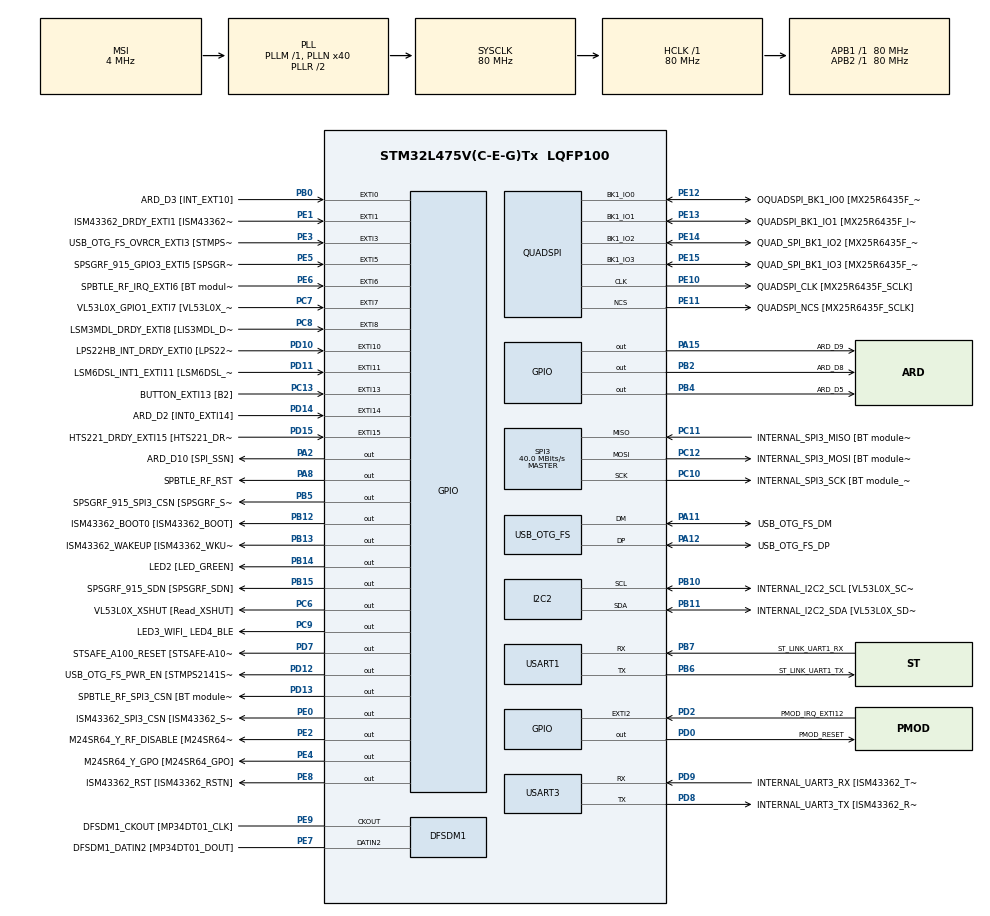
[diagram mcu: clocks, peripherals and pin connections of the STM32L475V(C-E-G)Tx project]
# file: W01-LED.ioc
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FREERTOS.Mutexes01=LED2,Static,LED2ControlBlock,Available
FREERTOS.Tasks01=defaultTask,24,128,StartDefaultTask,Default,NULL,Static,defaultTaskBuffer,defaultTaskControlBlock;fastBlink,8,128,StartFastBlink,Default,NULL,Static,fastBlinkBuffer,fastBlinkControlBlock;blink5,8,128,StartBlink5,Default,NULL,Static,blink5Buffer,blink5ControlBlock
I2C2.Timing=0x10D19CE4
Mcu.Family=STM32L4
Mcu.Name=STM32L475V(C-E-G)Tx
Mcu.Package=LQFP100
NVIC.EXTI15_10_IRQn=true\:5\:0\:false\:false\:true\:true\:true\:true\:true
NVIC.EXTI9_5_IRQn=true\:5\:0\:false\:false\:true\:true\:true\:true\:true
NVIC.PriorityGroup=NVIC_PRIORITYGROUP_4
NVIC.TIM6_DAC_IRQn=true\:15\:0\:false\:false\:true\:false\:false\:true\:true
NVIC.TimeBase=TIM6_DAC_IRQn
NVIC.TimeBaseIP=TIM6
PA0.GPIO_Label=ARD_D1 [UART4_TX]
PA0.Signal=UART4_TX
PA1.GPIO_Label=ARD_D0 [UART4_RX]
PA1.Signal=UART4_RX
PA10.GPIO_Label=USB_OTG_FS_ID
PA10.Signal=USB_OTG_FS_ID
PA11.GPIO_Label=USB_OTG_FS_DM
PA11.Mode=Device_Only
PA11.Signal=USB_OTG_FS_DM
PA12.GPIO_Label=USB_OTG_FS_DP
PA12.Mode=Device_Only
PA12.Signal=USB_OTG_FS_DP
PA13\ (JTMS-SWDIO).GPIO_Label=SYS_JTMS_SWDIO
PA13\ (JTMS-SWDIO).Mode=Serial_Wire
PA13\ (JTMS-SWDIO).Signal=SYS_JTMS-SWDIO
PA14\ (JTCK-SWCLK).GPIO_Label=SYS_JTCK_SWCLK
PA14\ (JTCK-SWCLK).Mode=Serial_Wire
PA14\ (JTCK-SWCLK).Signal=SYS_JTCK-SWCLK
PA15\ (JTDI).GPIO_Label=ARD_D9
PA15\ (JTDI).Signal=GPIO_Output
PA2.GPIO_Label=ARD_D10 [SPI_SSN]
PA2.Signal=GPIO_Output
PA3.GPIO_Label=ARD_D4
PA3.Signal=S_TIM2_CH4
PA4.GPIO_Label=ARD_D7
PA4.Signal=ADCx_IN9
PA5.GPIO_Label=ARD_D13 [SPI1_SCK]
PA5.Signal=SPI1_SCK
PA6.GPIO_Label=ARD_D12 [SPI1_MISO]
PA6.Signal=SPI1_MISO
PA7.GPIO_Label=ARD_D11 [SPI1_MOSI]
PA7.Signal=SPI1_MOSI
PA8.GPIO_Label=SPBTLE_RF_RST
PA8.Signal=GPIO_Output
PA9.GPIO_Label=USB_OTG_FS_VBUS [STMPS2141STR_OUT]
PA9.Signal=USB_OTG_FS_VBUS
PB0.GPIO_Label=ARD_D3 [INT_EXT10]
PB0.Signal=GPXTI0
PB1.GPIO_Label=ARD_D6 [ADC1_IN6]
PB1.Signal=ADCx_IN16
PB10.GPIO_Label=INTERNAL_I2C2_SCL [VL53L0X_SCL]
PB10.GPIO_Pu=GPIO_PULLUP
PB10.Mode=I2C
PB10.Signal=I2C2_SCL
PB11.GPIO_Label=INTERNAL_I2C2_SDA [VL53L0X_SDA]
PB11.GPIO_Pu=GPIO_PULLUP
PB11.Mode=I2C
PB11.Signal=I2C2_SDA
PB12.GPIO_Label=ISM43362_BOOT0 [ISM43362_BOOT]
PB12.Signal=GPIO_Output
PB13.GPIO_Label=ISM43362_WAKEUP [ISM43362_WKUP]
PB13.Signal=GPIO_Output
PB14.GPIO_Label=LED2 [LED_GREEN]
PB14.PinState=GPIO_PIN_RESET
PB14.Signal=GPIO_Output
PB15.GPIO_Label=SPSGRF_915_SDN [SPSGRF_SDN]
PB15.Signal=GPIO_Output
PB2.GPIO_Label=ARD_D8
PB2.Signal=GPIO_Output
PB3\ (JTDO-TRACESWO).GPIO_Label=SYS_JTD0_SWO
PB3\ (JTDO-TRACESWO).Signal=SYS_JTDO-SWO
PB4\ (NJTRST).GPIO_Label=ARD_D5
PB4\ (NJTRST).Signal=GPIO_Output
PB5.GPIO_Label=SPSGRF_915_SPI3_CSN [SPSGRF_SPI_CS]
PB5.PinState=GPIO_PIN_SET
PB5.Signal=GPIO_Output
PB6.GPIO_Label=ST_LINK_UART1_TX
PB6.Mode=Asynchronous
PB6.Signal=USART1_TX
PB7.GPIO_Label=ST_LINK_UART1_RX
PB7.Mode=Asynchronous
PB7.Signal=USART1_RX
PB8.GPIO_Label=ARD_D15 [I2C1_SCL]
PB8.Signal=I2C1_SCL
PB9.GPIO_Label=ARD_D14 [I2C1_SDA]
PB9.Signal=I2C1_SDA
PC0.GPIO_Label=ARD_A5 [ADC]
PC0.Signal=ADCx_IN1
PC1.GPIO_Label=ARD_A4 [ADC]
PC1.Signal=ADCx_IN2
PC10.GPIO_Label=INTERNAL_SPI3_SCK [BT module_SPI_SCLK] [ISM43362_SCK]
PC10.Mode=Full_Duplex_Master
PC10.Signal=SPI3_SCK
PC11.GPIO_Label=INTERNAL_SPI3_MISO [BT module_SPI_MISO] [ISM43362_MISO]
PC11.Mode=Full_Duplex_Master
PC11.Signal=SPI3_MISO
PC12.GPIO_Label=INTERNAL_SPI3_MOSI [BT module_SPI_MOSI] [ISM43362_MOSI]
PC12.Mode=Full_Duplex_Master
PC12.Signal=SPI3_MOSI
PC13.GPIO_Label=BUTTON_EXTI13 [B2]
PC13.GPIO_ModeDefaultEXTI=GPIO_MODE_IT_FALLING
PC13.GPIO_PuPd=GPIO_PULLUP
PC13.Signal=GPXTI13
PC14-OSC32_IN\ (PC14).Mode=LSE-External-Oscillator
PC14-OSC32_IN\ (PC14).Signal=RCC_OSC32_IN
PC15-OSC32_OUT\ (PC15).Mode=LSE-External-Oscillator
PC15-OSC32_OUT\ (PC15).Signal=RCC_OSC32_OUT
PC2.GPIO_Label=ARD_A3 [ADC]
PC2.Signal=ADCx_IN3
PC3.GPIO_Label=ARD_A2 [ADC]
PC3.Signal=ADCx_IN4
PC4.GPIO_Label=ARD_A1 [ADC]
PC4.Signal=ADCx_IN13
PC5.GPIO_Label=ARD_A0 [ADC]
PC5.Signal=ADCx_IN14
PC6.GPIO_Label=VL53L0X_XSHUT [Read_XSHUT]
PC6.Signal=GPIO_Output
PC7.GPIO_Label=VL53L0X_GPIO1_EXTI7 [VL53L0X_GPIO1]
PC7.Signal=GPXTI7
PC8.GPIO_Label=LSM3MDL_DRDY_EXTI8 [LIS3MDL_DRDY]
PC8.Signal=GPXTI8
PC9.GPIO_Label=LED3_WIFI_ LED4_BLE
PC9.Signal=GPIO_Output
PD0.GPIO_Label=PMOD_RESET
PD0.Signal=GPIO_Output
PD1.GPIO_Label=PMOD_SPI2_SCK
PD1.Signal=SPI2_SCK
PD10.GPIO_Label=LPS22HB_INT_DRDY_EXTI0 [LPS22HB_INT_DRDY] 
PD10.Signal=GPXTI10
PD11.GPIO_Label=LSM6DSL_INT1_EXTI11 [LSM6DSL_INT1]
PD11.Signal=GPXTI11
PD12.GPIO_Label=USB_OTG_FS_PWR_EN [STMPS2141STR_EN]
PD12.Signal=GPIO_Output
PD13.GPIO_Label=SPBTLE_RF_SPI3_CSN [BT module_SPI_CS]
PD13.PinState=GPIO_PIN_SET
PD13.Signal=GPIO_Output
PD14.GPIO_Label=ARD_D2 [INT0_EXTI14]
PD14.Signal=GPXTI14
PD15.GPIO_Label=HTS221_DRDY_EXTI15 [HTS221_DRDY]
PD15.Signal=GPXTI15
PD2.GPIO_Label=PMOD_IRQ_EXTI12
PD2.Signal=GPXTI2
PD3.GPIO_Label=PMOD_UART2_CTS
PD3.Signal=USART2_CTS
PD4.GPIO_Label=PMOD_UART2_RTS
PD4.Signal=USART2_RTS
PD5.GPIO_Label=PMOD_UART2_TX
PD5.Signal=USART2_TX
PD6.GPIO_Label=PMOD_UART2_RX
PD6.Signal=USART2_RX
PD7.GPIO_Label=STSAFE_A100_RESET [STSAFE-A100_RESET]
PD7.Signal=GPIO_Output
PD8.GPIO_Label=INTERNAL_UART3_TX [ISM43362_RX]
PD8.Mode=Asynchronous
PD8.Signal=USART3_TX
PD9.GPIO_Label=INTERNAL_UART3_RX [ISM43362_TX]
PD9.Mode=Asynchronous
PD9.Signal=USART3_RX
PE0.GPIO_Label=ISM43362_SPI3_CSN [ISM43362_SSN]
PE0.PinState=GPIO_PIN_SET
PE0.Signal=GPIO_Output
PE1.GPIO_Label=ISM43362_DRDY_EXTI1 [ISM43362_DATARDY]
PE1.Signal=GPXTI1
PE10.GPIO_Label=QUADSPI_CLK [MX25R6435F_SCLK]
PE10.Mode=Single Bank
PE10.Signal=QUADSPI_CLK
PE11.GPIO_Label=QUADSPI_NCS [MX25R6435F_SCLK]
PE11.Mode=Single Bank
PE11.Signal=QUADSPI_NCS
PE12.GPIO_Label=OQUADSPI_BK1_IO0 [MX25R6435F_IO0]
PE12.Mode=Single Bank
PE12.Signal=QUADSPI_BK1_IO0
PE13.GPIO_Label=QUADSPI_BK1_IO1 [MX25R6435F_IO1]
PE13.Mode=Single Bank
PE13.Signal=QUADSPI_BK1_IO1
PE14.GPIO_Label=QUAD_SPI_BK1_IO2 [MX25R6435F_IO2]
PE14.Mode=Single Bank
PE14.Signal=QUADSPI_BK1_IO2
PE15.GPIO_Label=QUAD_SPI_BK1_IO3 [MX25R6435F_IO3]
PE15.Mode=Single Bank
PE15.Signal=QUADSPI_BK1_IO3
PE2.GPIO_Label=M24SR64_Y_RF_DISABLE [M24SR64_RFDIS]
PE2.Signal=GPIO_Output
PE3.GPIO_Label=USB_OTG_FS_OVRCR_EXTI3 [STMPS2141STR_FAULT]
PE3.Signal=GPXTI3
PE4.GPIO_Label=M24SR64_Y_GPO [M24SR64_GPO]
PE4.Signal=GPIO_Output
PE5.GPIO_Label=SPSGRF_915_GPIO3_EXTI5 [SPSGRF_GPIO_3]
PE5.Signal=GPXTI5
PE6.GPIO_Label=SPBTLE_RF_IRQ_EXTI6 [BT module_SPI_IRQ]
PE6.Signal=GPXTI6
PE7.GPIO_Label=DFSDM1_DATIN2 [MP34DT01_DOUT]
PE7.Signal=S_DATAIN2DFSDM1
PE8.GPIO_Label=ISM43362_RST [ISM43362_RSTN]
PE8.Signal=GPIO_Output
PE9.GPIO_Label=DFSDM1_CKOUT [MP34DT01_CLK]
PE9.Signal=S_CKOUTDFSDM1
ProjectManager.HeapSize=0x200
ProjectManager.StackSize=0x400
ProjectManager.TargetToolchain=CMake
QUADSPI.ClockPrescaler=2
QUADSPI.FifoThreshold=4
QUADSPI.FlashSize=23
QUADSPI.SampleShifting=QSPI_SAMPLE_SHIFTING_HALFCYCLE
RCC.ADCFreq_Value=48000000
RCC.AHBFreq_Value=80000000
RCC.APB1Freq_Value=80000000
RCC.APB1TimFreq_Value=80000000
RCC.APB2Freq_Value=80000000
RCC.APB2TimFreq_Value=80000000
RCC.CortexFreq_Value=80000000
RCC.HCLKFreq_Value=80000000
RCC.HSE_VALUE=8000000
RCC.HSI_VALUE=16000000
RCC.MSI_VALUE=4000000
RCC.PLLN=40
RCC.PLLSAI1N=24
RCC.SYSCLKFreq_VALUE=80000000
RCC.SYSCLKSource=RCC_SYSCLKSOURCE_PLLCLK
RCC.USBFreq_Value=48000000
RCC.VCOOutputFreq_Value=160000000
SH.ADCx_IN1.0=ADC1_IN1
SH.ADCx_IN13.0=ADC1_IN13
SH.ADCx_IN14.0=ADC1_IN14
SH.ADCx_IN16.0=ADC1_IN16
SH.ADCx_IN2.0=ADC1_IN2
SH.ADCx_IN3.0=ADC1_IN3
SH.ADCx_IN4.0=ADC1_IN4
SH.ADCx_IN9.0=ADC1_IN9
SH.S_CKOUTDFSDM1.0=DFSDM1_CKOUT,CKOUT
SH.S_CKOUTDFSDM1.1=DFSDM1_CKOUT,PDM_SPI_Input_from_ch12_and_Internal_Clock
SH.S_DATAIN2DFSDM1.0=DFSDM1_DATIN2,PDM_SPI_Input_from_ch12_and_Internal_Clock
SH.S_TIM2_CH4.0=TIM2_CH4
SPI3.CalculateBaudRate=40.0 MBits/s
SPI3.Direction=SPI_DIRECTION_2LINES
SPI3.Mode=SPI_MODE_MASTER
SPI3.VirtualType=VM_MASTER
USART1.VirtualMode-Asynchronous=VM_ASYNC
USART3.VirtualMode-Asynchronous=VM_ASYNC
USB_OTG_FS.VirtualMode=Device_Only
VP_FREERTOS_VS_CMSIS_V2.Mode=CMSIS_V2
VP_SYS_VS_tim6.Mode=TIM6
board=B-L475E-IOT01A2

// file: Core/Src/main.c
/* USER CODE BEGIN Header */
/**
  ******************************************************************************
  * @file           : main.c
  * @brief          : Main program body
  ******************************************************************************
  * @attention
  *
  * Copyright (c) 2025 STMicroelectronics.
  * All rights reserved.
  *
  * This software is licensed under terms that can be found in the LICENSE file
  * in the root directory of this software component.
  * If no LICENSE file comes with this software, it is provided AS-IS.
  *
  ******************************************************************************
  */
/* USER CODE END Header */
#include "main.h"
#include "cmsis_os.h"

/* USER CODE BEGIN Includes */
#include <string.h>
/* USER CODE END Includes */

typedef StaticTask_t osStaticThreadDef_t;
typedef StaticSemaphore_t osStaticMutexDef_t;

DFSDM_Channel_HandleTypeDef hdfsdm1_channel1;

I2C_HandleTypeDef hi2c2;

QSPI_HandleTypeDef hqspi;

SPI_HandleTypeDef hspi3;

UART_HandleTypeDef huart1;
UART_HandleTypeDef huart3;

PCD_HandleTypeDef hpcd_USB_OTG_FS;

/* Definitions for defaultTask */
osThreadId_t defaultTaskHandle;
uint32_t defaultTaskBuffer[ 128 ];
osStaticThreadDef_t defaultTaskControlBlock;
const osThreadAttr_t defaultTask_attributes = {
  .name = "defaultTask",
  .cb_mem = &defaultTaskControlBlock,
  .cb_size = sizeof(defaultTaskControlBlock),
  .stack_mem = &defaultTaskBuffer[0],
  .stack_size = sizeof(defaultTaskBuffer),
  .priority = (osPriority_t) osPriorityNormal,
};
/* Definitions for fastBlink */
osThreadId_t fastBlinkHandle;
uint32_t fastBlinkBuffer[ 128 ];
osStaticThreadDef_t fastBlinkControlBlock;
const osThreadAttr_t fastBlink_attributes = {
  .name = "fastBlink",
  .cb_mem = &fastBlinkControlBlock,
  .cb_size = sizeof(fastBlinkControlBlock),
  .stack_mem = &fastBlinkBuffer[0],
  .stack_size = sizeof(fastBlinkBuffer),
  .priority = (osPriority_t) osPriorityLow,
};
/* Definitions for blink5 */
osThreadId_t blink5Handle;
uint32_t blink5Buffer[ 128 ];
osStaticThreadDef_t blink5ControlBlock;
const osThreadAttr_t blink5_attributes = {
  .name = "blink5",
  .cb_mem = &blink5ControlBlock,
  .cb_size = sizeof(blink5ControlBlock),
  .stack_mem = &blink5Buffer[0],
  .stack_size = sizeof(blink5Buffer),
  .priority = (osPriority_t) osPriorityLow,
};
/* Definitions for LED2 */
osMutexId_t LED2Handle;
osStaticMutexDef_t LED2ControlBlock;
const osMutexAttr_t LED2_attributes = {
  .name = "LED2",
  .cb_mem = &LED2ControlBlock,
  .cb_size = sizeof(LED2ControlBlock),
};

void SystemClock_Config(void);
static void MX_GPIO_Init(void);
static void MX_DFSDM1_Init(void);
static void MX_I2C2_Init(void);
static void MX_QUADSPI_Init(void);
static void MX_SPI3_Init(void);
static void MX_USART1_UART_Init(void);
static void MX_USART3_UART_Init(void);
static void MX_USB_OTG_FS_PCD_Init(void);
void StartDefaultTask(void *argument);
void StartFastBlink(void *argument);
void StartBlink5(void *argument);

/* USER CODE BEGIN 0 */
int status_code = 1;
char msg[128] = "init message";
/* USER CODE END 0 */

int main(void)
{

  /* USER CODE BEGIN 1 */
  strcpy(msg, "main start");
  /* USER CODE END 1 */

  /* MCU Configuration--------------------------------------------------------*/

  /* Reset of all peripherals, Initializes the Flash interface and the Systick. */
  HAL_Init();

  /* USER CODE BEGIN Init */
  strcpy(msg, "after HAL_Init");
  /* USER CODE END Init */

  /* Configure the system clock */
  SystemClock_Config();

  /* Initialize all configured peripherals */
  MX_GPIO_Init();
  MX_DFSDM1_Init();
  MX_I2C2_Init();
  MX_QUADSPI_Init();
  MX_SPI3_Init();
  MX_USART1_UART_Init();
  MX_USART3_UART_Init();
  MX_USB_OTG_FS_PCD_Init();

  /* Init scheduler */
  osKernelInitialize();
  /* Create the mutex(es) */
  /* creation of LED2 */
  LED2Handle = osMutexNew(&LED2_attributes);

  /* Create the thread(s) */
  /* creation of defaultTask */
  defaultTaskHandle = osThreadNew(StartDefaultTask, NULL, &defaultTask_attributes);

  /* creation of fastBlink */
  fastBlinkHandle = osThreadNew(StartFastBlink, NULL, &fastBlink_attributes);

  /* creation of blink5 */
  blink5Handle = osThreadNew(StartBlink5, NULL, &blink5_attributes);

  /* USER CODE BEGIN RTOS_THREADS */
  osThreadSuspend(fastBlinkHandle);
  osThreadSuspend(blink5Handle);
  /* add threads, ... */
  /* USER CODE END RTOS_THREADS */

  /* Start scheduler */
  osKernelStart();

  /* We should never get here as control is now taken by the scheduler */

  /* Infinite loop */
  /* USER CODE BEGIN WHILE */
  while (1)
  {
    break;
    /* USER CODE END WHILE */

  }
}

void SystemClock_Config(void)
{
  RCC_OscInitTypeDef RCC_OscInitStruct = {0};
  RCC_ClkInitTypeDef RCC_ClkInitStruct = {0};

  /** Configure the main internal regulator output voltage
  */
  if (HAL_PWREx_ControlVoltageScaling(PWR_REGULATOR_VOLTAGE_SCALE1) != HAL_OK)
  {
    Error_Handler();
  }

  /** Configure LSE Drive Capability
  */
  HAL_PWR_EnableBkUpAccess();
  __HAL_RCC_LSEDRIVE_CONFIG(RCC_LSEDRIVE_LOW);

  /** Initializes the RCC Oscillators according to the specified parameters
  * in the RCC_OscInitTypeDef structure.
  */
  RCC_OscInitStruct.OscillatorType = RCC_OSCILLATORTYPE_LSE|RCC_OSCILLATORTYPE_MSI;
  RCC_OscInitStruct.LSEState = RCC_LSE_ON;
  RCC_OscInitStruct.MSIState = RCC_MSI_ON;
  RCC_OscInitStruct.MSICalibrationValue = 0;
  RCC_OscInitStruct.MSIClockRange = RCC_MSIRANGE_6;
  RCC_OscInitStruct.PLL.PLLState = RCC_PLL_ON;
  RCC_OscInitStruct.PLL.PLLSource = RCC_PLLSOURCE_MSI;
  RCC_OscInitStruct.PLL.PLLM = 1;
  RCC_OscInitStruct.PLL.PLLN = 40;
  RCC_OscInitStruct.PLL.PLLP = RCC_PLLP_DIV7;
  RCC_OscInitStruct.PLL.PLLQ = RCC_PLLQ_DIV2;
  RCC_OscInitStruct.PLL.PLLR = RCC_PLLR_DIV2;
  if (HAL_RCC_OscConfig(&RCC_OscInitStruct) != HAL_OK)
  {
    Error_Handler();
  }

  /** Initializes the CPU, AHB and APB buses clocks
  */
  RCC_ClkInitStruct.ClockType = RCC_CLOCKTYPE_HCLK|RCC_CLOCKTYPE_SYSCLK
                              |RCC_CLOCKTYPE_PCLK1|RCC_CLOCKTYPE_PCLK2;
  RCC_ClkInitStruct.SYSCLKSource = RCC_SYSCLKSOURCE_PLLCLK;
  RCC_ClkInitStruct.AHBCLKDivider = RCC_SYSCLK_DIV1;
  RCC_ClkInitStruct.APB1CLKDivider = RCC_HCLK_DIV1;
  RCC_ClkInitStruct.APB2CLKDivider = RCC_HCLK_DIV1;

  if (HAL_RCC_ClockConfig(&RCC_ClkInitStruct, FLASH_LATENCY_4) != HAL_OK)
  {
    Error_Handler();
  }

  /** Enable MSI Auto calibration
  */
  HAL_RCCEx_EnableMSIPLLMode();
}

static void MX_DFSDM1_Init(void)
{

  hdfsdm1_channel1.Instance = DFSDM1_Channel1;
  hdfsdm1_channel1.Init.OutputClock.Activation = ENABLE;
  hdfsdm1_channel1.Init.OutputClock.Selection = DFSDM_CHANNEL_OUTPUT_CLOCK_SYSTEM;
  hdfsdm1_channel1.Init.OutputClock.Divider = 2;
  hdfsdm1_channel1.Init.Input.Multiplexer = DFSDM_CHANNEL_EXTERNAL_INPUTS;
  hdfsdm1_channel1.Init.Input.DataPacking = DFSDM_CHANNEL_STANDARD_MODE;
  hdfsdm1_channel1.Init.Input.Pins = DFSDM_CHANNEL_FOLLOWING_CHANNEL_PINS;
  hdfsdm1_channel1.Init.SerialInterface.Type = DFSDM_CHANNEL_SPI_RISING;
  hdfsdm1_channel1.Init.SerialInterface.SpiClock = DFSDM_CHANNEL_SPI_CLOCK_INTERNAL;
  hdfsdm1_channel1.Init.Awd.FilterOrder = DFSDM_CHANNEL_FASTSINC_ORDER;
  hdfsdm1_channel1.Init.Awd.Oversampling = 1;
  hdfsdm1_channel1.Init.Offset = 0;
  hdfsdm1_channel1.Init.RightBitShift = 0x00;
  if (HAL_DFSDM_ChannelInit(&hdfsdm1_channel1) != HAL_OK)
  {
    Error_Handler();
  }

}

static void MX_I2C2_Init(void)
{

  hi2c2.Instance = I2C2;
  hi2c2.Init.Timing = 0x10D19CE4;
  hi2c2.Init.OwnAddress1 = 0;
  hi2c2.Init.AddressingMode = I2C_ADDRESSINGMODE_7BIT;
  hi2c2.Init.DualAddressMode = I2C_DUALADDRESS_DISABLE;
  hi2c2.Init.OwnAddress2 = 0;
  hi2c2.Init.OwnAddress2Masks = I2C_OA2_NOMASK;
  hi2c2.Init.GeneralCallMode = I2C_GENERALCALL_DISABLE;
  hi2c2.Init.NoStretchMode = I2C_NOSTRETCH_DISABLE;
  if (HAL_I2C_Init(&hi2c2) != HAL_OK)
  {
    Error_Handler();
  }

  /** Configure Analogue filter
  */
  if (HAL_I2CEx_ConfigAnalogFilter(&hi2c2, I2C_ANALOGFILTER_ENABLE) != HAL_OK)
  {
    Error_Handler();
  }

  /** Configure Digital filter
  */
  if (HAL_I2CEx_ConfigDigitalFilter(&hi2c2, 0) != HAL_OK)
  {
    Error_Handler();
  }

}

static void MX_QUADSPI_Init(void)
{

  /* QUADSPI parameter configuration*/
  hqspi.Instance = QUADSPI;
  hqspi.Init.ClockPrescaler = 2;
  hqspi.Init.FifoThreshold = 4;
  hqspi.Init.SampleShifting = QSPI_SAMPLE_SHIFTING_HALFCYCLE;
  hqspi.Init.FlashSize = 23;
  hqspi.Init.ChipSelectHighTime = QSPI_CS_HIGH_TIME_1_CYCLE;
  hqspi.Init.ClockMode = QSPI_CLOCK_MODE_0;
  if (HAL_QSPI_Init(&hqspi) != HAL_OK)
  {
    Error_Handler();
  }

}

static void MX_SPI3_Init(void)
{

  /* SPI3 parameter configuration*/
  hspi3.Instance = SPI3;
  hspi3.Init.Mode = SPI_MODE_MASTER;
  hspi3.Init.Direction = SPI_DIRECTION_2LINES;
  hspi3.Init.DataSize = SPI_DATASIZE_4BIT;
  hspi3.Init.CLKPolarity = SPI_POLARITY_LOW;
  hspi3.Init.CLKPhase = SPI_PHASE_1EDGE;
  hspi3.Init.NSS = SPI_NSS_SOFT;
  hspi3.Init.BaudRatePrescaler = SPI_BAUDRATEPRESCALER_2;
  hspi3.Init.FirstBit = SPI_FIRSTBIT_MSB;
  hspi3.Init.TIMode = SPI_TIMODE_DISABLE;
  hspi3.Init.CRCCalculation = SPI_CRCCALCULATION_DISABLE;
  hspi3.Init.CRCPolynomial = 7;
  hspi3.Init.CRCLength = SPI_CRC_LENGTH_DATASIZE;
  hspi3.Init.NSSPMode = SPI_NSS_PULSE_ENABLE;
  if (HAL_SPI_Init(&hspi3) != HAL_OK)
  {
    Error_Handler();
  }

}

static void MX_USART1_UART_Init(void)
{

  huart1.Instance = USART1;
  huart1.Init.BaudRate = 115200;
  huart1.Init.WordLength = UART_WORDLENGTH_8B;
  huart1.Init.StopBits = UART_STOPBITS_1;
  huart1.Init.Parity = UART_PARITY_NONE;
  huart1.Init.Mode = UART_MODE_TX_RX;
  huart1.Init.HwFlowCtl = UART_HWCONTROL_NONE;
  huart1.Init.OverSampling = UART_OVERSAMPLING_16;
  huart1.Init.OneBitSampling = UART_ONE_BIT_SAMPLE_DISABLE;
  huart1.AdvancedInit.AdvFeatureInit = UART_ADVFEATURE_NO_INIT;
  if (HAL_UART_Init(&huart1) != HAL_OK)
  {
    Error_Handler();
  }

}

static void MX_USART3_UART_Init(void)
{

  huart3.Instance = USART3;
  huart3.Init.BaudRate = 115200;
  huart3.Init.WordLength = UART_WORDLENGTH_8B;
  huart3.Init.StopBits = UART_STOPBITS_1;
  huart3.Init.Parity = UART_PARITY_NONE;
  huart3.Init.Mode = UART_MODE_TX_RX;
  huart3.Init.HwFlowCtl = UART_HWCONTROL_NONE;
  huart3.Init.OverSampling = UART_OVERSAMPLING_16;
  huart3.Init.OneBitSampling = UART_ONE_BIT_SAMPLE_DISABLE;
  huart3.AdvancedInit.AdvFeatureInit = UART_ADVFEATURE_NO_INIT;
  if (HAL_UART_Init(&huart3) != HAL_OK)
  {
    Error_Handler();
  }

}

static void MX_USB_OTG_FS_PCD_Init(void)
{

  hpcd_USB_OTG_FS.Instance = USB_OTG_FS;
  hpcd_USB_OTG_FS.Init.dev_endpoints = 6;
  hpcd_USB_OTG_FS.Init.speed = PCD_SPEED_FULL;
  hpcd_USB_OTG_FS.Init.phy_itface = PCD_PHY_EMBEDDED;
  hpcd_USB_OTG_FS.Init.Sof_enable = DISABLE;
  hpcd_USB_OTG_FS.Init.low_power_enable = DISABLE;
  hpcd_USB_OTG_FS.Init.lpm_enable = DISABLE;
  hpcd_USB_OTG_FS.Init.battery_charging_enable = DISABLE;
  hpcd_USB_OTG_FS.Init.use_dedicated_ep1 = DISABLE;
  hpcd_USB_OTG_FS.Init.vbus_sensing_enable = DISABLE;
  if (HAL_PCD_Init(&hpcd_USB_OTG_FS) != HAL_OK)
  {
    Error_Handler();
  }

}

static void MX_GPIO_Init(void)
{
  GPIO_InitTypeDef GPIO_InitStruct = {0};

  /* GPIO Ports Clock Enable */
  __HAL_RCC_GPIOE_CLK_ENABLE();
  __HAL_RCC_GPIOC_CLK_ENABLE();
  __HAL_RCC_GPIOA_CLK_ENABLE();
  __HAL_RCC_GPIOB_CLK_ENABLE();
  __HAL_RCC_GPIOD_CLK_ENABLE();

  /*Configure GPIO pin Output Level */
  HAL_GPIO_WritePin(GPIOE, M24SR64_Y_RF_DISABLE_Pin|M24SR64_Y_GPO_Pin|ISM43362_RST_Pin, GPIO_PIN_RESET);

  /*Configure GPIO pin Output Level */
  HAL_GPIO_WritePin(GPIOA, ARD_D10_Pin|SPBTLE_RF_RST_Pin|ARD_D9_Pin, GPIO_PIN_RESET);

  /*Configure GPIO pin Output Level */
  HAL_GPIO_WritePin(GPIOB, ARD_D8_Pin|ISM43362_BOOT0_Pin|ISM43362_WAKEUP_Pin|LED2_Pin
                          |SPSGRF_915_SDN_Pin|ARD_D5_Pin, GPIO_PIN_RESET);

  /*Configure GPIO pin Output Level */
  HAL_GPIO_WritePin(GPIOD, USB_OTG_FS_PWR_EN_Pin|PMOD_RESET_Pin|STSAFE_A100_RESET_Pin, GPIO_PIN_RESET);

  /*Configure GPIO pin Output Level */
  HAL_GPIO_WritePin(SPBTLE_RF_SPI3_CSN_GPIO_Port, SPBTLE_RF_SPI3_CSN_Pin, GPIO_PIN_SET);

  /*Configure GPIO pin Output Level */
  HAL_GPIO_WritePin(GPIOC, VL53L0X_XSHUT_Pin|LED3_WIFI__LED4_BLE_Pin, GPIO_PIN_RESET);

  /*Configure GPIO pin Output Level */
  HAL_GPIO_WritePin(SPSGRF_915_SPI3_CSN_GPIO_Port, SPSGRF_915_SPI3_CSN_Pin, GPIO_PIN_SET);

  /*Configure GPIO pin Output Level */
  HAL_GPIO_WritePin(ISM43362_SPI3_CSN_GPIO_Port, ISM43362_SPI3_CSN_Pin, GPIO_PIN_SET);

  /*Configure GPIO pins : M24SR64_Y_RF_DISABLE_Pin M24SR64_Y_GPO_Pin ISM43362_RST_Pin ISM43362_SPI3_CSN_Pin */
  GPIO_InitStruct.Pin = M24SR64_Y_RF_DISABLE_Pin|M24SR64_Y_GPO_Pin|ISM43362_RST_Pin|ISM43362_SPI3_CSN_Pin;
  GPIO_InitStruct.Mode = GPIO_MODE_OUTPUT_PP;
  GPIO_InitStruct.Pull = GPIO_NOPULL;
  GPIO_InitStruct.Speed = GPIO_SPEED_FREQ_LOW;
  HAL_GPIO_Init(GPIOE, &GPIO_InitStruct);

  /*Configure GPIO pins : USB_OTG_FS_OVRCR_EXTI3_Pin SPSGRF_915_GPIO3_EXTI5_Pin SPBTLE_RF_IRQ_EXTI6_Pin ISM43362_DRDY_EXTI1_Pin */
  GPIO_InitStruct.Pin = USB_OTG_FS_OVRCR_EXTI3_Pin|SPSGRF_915_GPIO3_EXTI5_Pin|SPBTLE_RF_IRQ_EXTI6_Pin|ISM43362_DRDY_EXTI1_Pin;
  GPIO_InitStruct.Mode = GPIO_MODE_IT_RISING;
  GPIO_InitStruct.Pull = GPIO_NOPULL;
  HAL_GPIO_Init(GPIOE, &GPIO_InitStruct);

  /*Configure GPIO pin : BUTTON_EXTI13_Pin */
  GPIO_InitStruct.Pin = BUTTON_EXTI13_Pin;
  GPIO_InitStruct.Mode = GPIO_MODE_IT_FALLING;
  GPIO_InitStruct.Pull = GPIO_PULLUP;
  HAL_GPIO_Init(BUTTON_EXTI13_GPIO_Port, &GPIO_InitStruct);

  /*Configure GPIO pins : ARD_A5_Pin ARD_A4_Pin ARD_A3_Pin ARD_A2_Pin
                           ARD_A1_Pin ARD_A0_Pin */
  GPIO_InitStruct.Pin = ARD_A5_Pin|ARD_A4_Pin|ARD_A3_Pin|ARD_A2_Pin
                          |ARD_A1_Pin|ARD_A0_Pin;
  GPIO_InitStruct.Mode = GPIO_MODE_ANALOG_ADC_CONTROL;
  GPIO_InitStruct.Pull = GPIO_NOPULL;
  HAL_GPIO_Init(GPIOC, &GPIO_InitStruct);

  /*Configure GPIO pins : ARD_D1_Pin ARD_D0_Pin */
  GPIO_InitStruct.Pin = ARD_D1_Pin|ARD_D0_Pin;
  GPIO_InitStruct.Mode = GPIO_MODE_AF_PP;
  GPIO_InitStruct.Pull = GPIO_NOPULL;
  GPIO_InitStruct.Speed = GPIO_SPEED_FREQ_VERY_HIGH;
  GPIO_InitStruct.Alternate = GPIO_AF8_UART4;
  HAL_GPIO_Init(GPIOA, &GPIO_InitStruct);

  /*Configure GPIO pins : ARD_D10_Pin SPBTLE_RF_RST_Pin ARD_D9_Pin */
  GPIO_InitStruct.Pin = ARD_D10_Pin|SPBTLE_RF_RST_Pin|ARD_D9_Pin;
  GPIO_InitStruct.Mode = GPIO_MODE_OUTPUT_PP;
  GPIO_InitStruct.Pull = GPIO_NOPULL;
  GPIO_InitStruct.Speed = GPIO_SPEED_FREQ_LOW;
  HAL_GPIO_Init(GPIOA, &GPIO_InitStruct);

  /*Configure GPIO pin : ARD_D4_Pin */
  GPIO_InitStruct.Pin = ARD_D4_Pin;
  GPIO_InitStruct.Mode = GPIO_MODE_AF_PP;
  GPIO_InitStruct.Pull = GPIO_NOPULL;
  GPIO_InitStruct.Speed = GPIO_SPEED_FREQ_LOW;
  GPIO_InitStruct.Alternate = GPIO_AF1_TIM2;
  HAL_GPIO_Init(ARD_D4_GPIO_Port, &GPIO_InitStruct);

  /*Configure GPIO pin : ARD_D7_Pin */
  GPIO_InitStruct.Pin = ARD_D7_Pin;
  GPIO_InitStruct.Mode = GPIO_MODE_ANALOG_ADC_CONTROL;
  GPIO_InitStruct.Pull = GPIO_NOPULL;
  HAL_GPIO_Init(ARD_D7_GPIO_Port, &GPIO_InitStruct);

  /*Configure GPIO pins : ARD_D13_Pin ARD_D12_Pin ARD_D11_Pin */
  GPIO_InitStruct.Pin = ARD_D13_Pin|ARD_D12_Pin|ARD_D11_Pin;
  GPIO_InitStruct.Mode = GPIO_MODE_AF_PP;
  GPIO_InitStruct.Pull = GPIO_NOPULL;
  GPIO_InitStruct.Speed = GPIO_SPEED_FREQ_VERY_HIGH;
  GPIO_InitStruct.Alternate = GPIO_AF5_SPI1;
  HAL_GPIO_Init(GPIOA, &GPIO_InitStruct);

  /*Configure GPIO pin : ARD_D3_Pin */
  GPIO_InitStruct.Pin = ARD_D3_Pin;
  GPIO_InitStruct.Mode = GPIO_MODE_IT_RISING;
  GPIO_InitStruct.Pull = GPIO_NOPULL;
  HAL_GPIO_Init(ARD_D3_GPIO_Port, &GPIO_InitStruct);

  /*Configure GPIO pin : ARD_D6_Pin */
  GPIO_InitStruct.Pin = ARD_D6_Pin;
  GPIO_InitStruct.Mode = GPIO_MODE_ANALOG_ADC_CONTROL;
  GPIO_InitStruct.Pull = GPIO_NOPULL;
  HAL_GPIO_Init(ARD_D6_GPIO_Port, &GPIO_InitStruct);

  /*Configure GPIO pins : ARD_D8_Pin ISM43362_BOOT0_Pin ISM43362_WAKEUP_Pin LED2_Pin
                           SPSGRF_915_SDN_Pin ARD_D5_Pin SPSGRF_915_SPI3_CSN_Pin */
  GPIO_InitStruct.Pin = ARD_D8_Pin|ISM43362_BOOT0_Pin|ISM43362_WAKEUP_Pin|LED2_Pin
                          |SPSGRF_915_SDN_Pin|ARD_D5_Pin|SPSGRF_915_SPI3_CSN_Pin;
  GPIO_InitStruct.Mode = GPIO_MODE_OUTPUT_PP;
  GPIO_InitStruct.Pull = GPIO_NOPULL;
  GPIO_InitStruct.Speed = GPIO_SPEED_FREQ_LOW;
  HAL_GPIO_Init(GPIOB, &GPIO_InitStruct);

  /*Configure GPIO pins : LPS22HB_INT_DRDY_EXTI0_Pin LSM6DSL_INT1_EXTI11_Pin ARD_D2_Pin HTS221_DRDY_EXTI15_Pin
                           PMOD_IRQ_EXTI12_Pin */
  GPIO_InitStruct.Pin = LPS22HB_INT_DRDY_EXTI0_Pin|LSM6DSL_INT1_EXTI11_Pin|ARD_D2_Pin|HTS221_DRDY_EXTI15_Pin
                          |PMOD_IRQ_EXTI12_Pin;
  GPIO_InitStruct.Mode = GPIO_MODE_IT_RISING;
  GPIO_InitStruct.Pull = GPIO_NOPULL;
  HAL_GPIO_Init(GPIOD, &GPIO_InitStruct);

  /*Configure GPIO pins : USB_OTG_FS_PWR_EN_Pin SPBTLE_RF_SPI3_CSN_Pin PMOD_RESET_Pin STSAFE_A100_RESET_Pin */
  GPIO_InitStruct.Pin = USB_OTG_FS_PWR_EN_Pin|SPBTLE_RF_SPI3_CSN_Pin|PMOD_RESET_Pin|STSAFE_A100_RESET_Pin;
  GPIO_InitStruct.Mode = GPIO_MODE_OUTPUT_PP;
  GPIO_InitStruct.Pull = GPIO_NOPULL;
  GPIO_InitStruct.Speed = GPIO_SPEED_FREQ_LOW;
  HAL_GPIO_Init(GPIOD, &GPIO_InitStruct);

  /*Configure GPIO pins : VL53L0X_XSHUT_Pin LED3_WIFI__LED4_BLE_Pin */
  GPIO_InitStruct.Pin = VL53L0X_XSHUT_Pin|LED3_WIFI__LED4_BLE_Pin;
  GPIO_InitStruct.Mode = GPIO_MODE_OUTPUT_PP;
  GPIO_InitStruct.Pull = GPIO_NOPULL;
  GPIO_InitStruct.Speed = GPIO_SPEED_FREQ_LOW;
  HAL_GPIO_Init(GPIOC, &GPIO_InitStruct);

  /*Configure GPIO pins : VL53L0X_GPIO1_EXTI7_Pin LSM3MDL_DRDY_EXTI8_Pin */
  GPIO_InitStruct.Pin = VL53L0X_GPIO1_EXTI7_Pin|LSM3MDL_DRDY_EXTI8_Pin;
  GPIO_InitStruct.Mode = GPIO_MODE_IT_RISING;
  GPIO_InitStruct.Pull = GPIO_NOPULL;
  HAL_GPIO_Init(GPIOC, &GPIO_InitStruct);

  /*Configure GPIO pin : PMOD_SPI2_SCK_Pin */
  GPIO_InitStruct.Pin = PMOD_SPI2_SCK_Pin;
  GPIO_InitStruct.Mode = GPIO_MODE_AF_PP;
  GPIO_InitStruct.Pull = GPIO_NOPULL;
  GPIO_InitStruct.Speed = GPIO_SPEED_FREQ_VERY_HIGH;
  GPIO_InitStruct.Alternate = GPIO_AF5_SPI2;
  HAL_GPIO_Init(PMOD_SPI2_SCK_GPIO_Port, &GPIO_InitStruct);

  /*Configure GPIO pins : PMOD_UART2_CTS_Pin PMOD_UART2_RTS_Pin PMOD_UART2_TX_Pin PMOD_UART2_RX_Pin */
  GPIO_InitStruct.Pin = PMOD_UART2_CTS_Pin|PMOD_UART2_RTS_Pin|PMOD_UART2_TX_Pin|PMOD_UART2_RX_Pin;
  GPIO_InitStruct.Mode = GPIO_MODE_AF_PP;
  GPIO_InitStruct.Pull = GPIO_NOPULL;
  GPIO_InitStruct.Speed = GPIO_SPEED_FREQ_VERY_HIGH;
  GPIO_InitStruct.Alternate = GPIO_AF7_USART2;
  HAL_GPIO_Init(GPIOD, &GPIO_InitStruct);

  /*Configure GPIO pins : ARD_D15_Pin ARD_D14_Pin */
  GPIO_InitStruct.Pin = ARD_D15_Pin|ARD_D14_Pin;
  GPIO_InitStruct.Mode = GPIO_MODE_AF_OD;
  GPIO_InitStruct.Pull = GPIO_NOPULL;
  GPIO_InitStruct.Speed = GPIO_SPEED_FREQ_VERY_HIGH;
  GPIO_InitStruct.Alternate = GPIO_AF4_I2C1;
  HAL_GPIO_Init(GPIOB, &GPIO_InitStruct);

  /* EXTI interrupt init*/
  HAL_NVIC_SetPriority(EXTI9_5_IRQn, 5, 0);
  HAL_NVIC_EnableIRQ(EXTI9_5_IRQn);

  HAL_NVIC_SetPriority(EXTI15_10_IRQn, 5, 0);
  HAL_NVIC_EnableIRQ(EXTI15_10_IRQn);

}

/* USER CODE BEGIN 4 */
void HAL_GPIO_EXTI_Callback(uint16_t GPIO_Pin)
{
  if(GPIO_Pin == BUTTON_EXTI13_Pin)
  {
    strcpy(msg, "button pressed");
    osThreadResume(blink5Handle);
  }
}
/* USER CODE END 4 */

void StartDefaultTask(void *argument)
{
  /* USER CODE BEGIN 5 */
  /* Infinite loop */
  for(;;)
  {
    osMutexAcquire(LED2Handle, 10);
    osThreadResume(fastBlinkHandle);
    osDelay(2000);
    osThreadSuspend(fastBlinkHandle);
    osMutexRelease(LED2Handle);
    osDelay(8000);
  }
  /* USER CODE END 5 */
}

void StartFastBlink(void *argument)
{
  /* USER CODE BEGIN StartFastBlink */
  /* Infinite loop */
  for(;;)
  {
    HAL_GPIO_TogglePin(LED2_GPIO_Port, LED2_Pin);
    osDelay(50);
  }
  /* USER CODE END StartFastBlink */
}

void StartBlink5(void *argument)
{
  /* USER CODE BEGIN StartBlink5 */
  /* Infinite loop */
  status_code = osMutexAcquire(LED2Handle, 10);
  if(status_code != osOK)
  {
    strcpy(msg, "mutex acquire failed");
    osThreadSuspend(blink5Handle);
  }
  strcpy(msg, "mutex acquired");
  HAL_GPIO_WritePin(LED2_GPIO_Port, LED2_Pin, GPIO_PIN_SET);
  osDelay(500);
  HAL_GPIO_WritePin(LED2_GPIO_Port, LED2_Pin, GPIO_PIN_RESET);
  osDelay(500);
  HAL_GPIO_WritePin(LED2_GPIO_Port, LED2_Pin, GPIO_PIN_SET);
  osDelay(500);
  HAL_GPIO_WritePin(LED2_GPIO_Port, LED2_Pin, GPIO_PIN_RESET);
  osDelay(500);
  HAL_GPIO_WritePin(LED2_GPIO_Port, LED2_Pin, GPIO_PIN_SET);
  osDelay(500);
  HAL_GPIO_WritePin(LED2_GPIO_Port, LED2_Pin, GPIO_PIN_RESET);
  osDelay(500);
  HAL_GPIO_WritePin(LED2_GPIO_Port, LED2_Pin, GPIO_PIN_SET);
  osDelay(500);
  HAL_GPIO_WritePin(LED2_GPIO_Port, LED2_Pin, GPIO_PIN_RESET);
  osDelay(500);
  HAL_GPIO_WritePin(LED2_GPIO_Port, LED2_Pin, GPIO_PIN_SET);
  osDelay(500);
  HAL_GPIO_WritePin(LED2_GPIO_Port, LED2_Pin, GPIO_PIN_RESET);
  osDelay(500);
  osMutexRelease(LED2Handle);
  osThreadSuspend(blink5Handle);
  /* USER CODE END StartBlink5 */
}

void HAL_TIM_PeriodElapsedCallback(TIM_HandleTypeDef *htim)
{
  if (htim->Instance == TIM6) {
    HAL_IncTick();
  }
}

void Error_Handler(void)
{
  __disable_irq();
  while (1)
  {
  }
}
